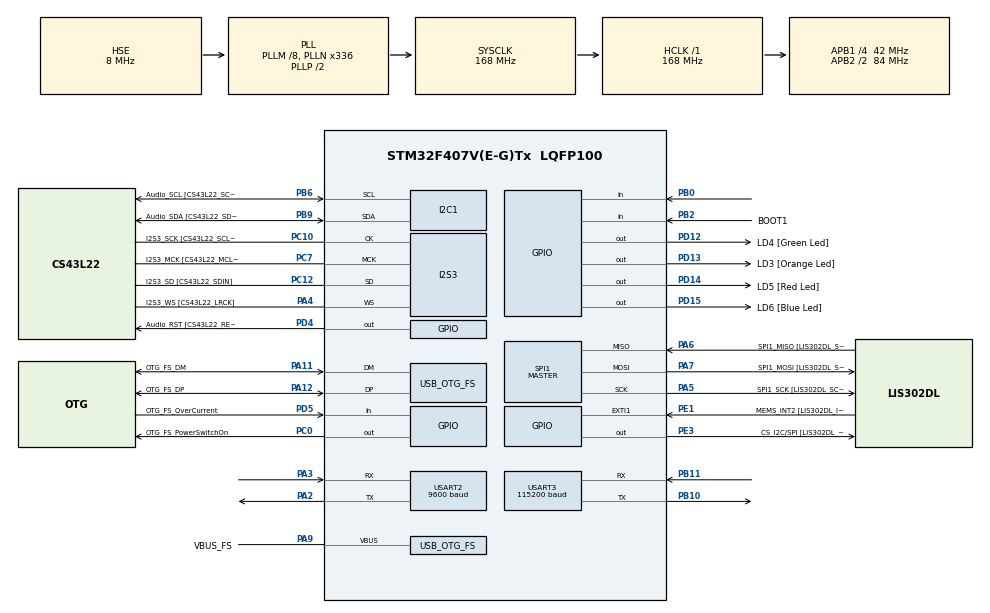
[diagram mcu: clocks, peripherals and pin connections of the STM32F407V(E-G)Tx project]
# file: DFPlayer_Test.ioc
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I2S3.AudioFreq-Half_Duplex_Master=I2S_AUDIOFREQ_96K
I2S3.ErrorAudioFreq=-2.34 %
I2S3.ErrorAudioFreq-Half_Duplex_Master=0.8 %
I2S3.FullDuplexMode=I2S_FULLDUPLEXMODE_DISABLE
I2S3.Instance=SPI$Index
I2S3.RealAudioFreq=93.75 KHz
I2S3.RealAudioFreq-Half_Duplex_Master=96.774 KHz
I2S3.VirtualMode=I2S_MODE_MASTER
Mcu.Family=STM32F4
Mcu.Name=STM32F407V(E-G)Tx
Mcu.Package=LQFP100
NVIC.OTG_FS_IRQn=true\:0\:0\:false\:false\:true\:true\:true\:true
NVIC.PriorityGroup=NVIC_PRIORITYGROUP_0
NVIC.USART3_IRQn=true\:0\:0\:false\:false\:true\:true\:true\:true
PA10.GPIO_Label=OTG_FS_ID
PA10.GPIO_Mode=GPIO_MODE_AF_PP
PA10.GPIO_PuPd=GPIO_NOPULL
PA10.GPIO_Speed=GPIO_SPEED_FREQ_LOW
PA10.Signal=USB_OTG_FS_ID
PA11.GPIO_Label=OTG_FS_DM
PA11.GPIO_Mode=GPIO_MODE_AF_PP
PA11.GPIO_PuPd=GPIO_NOPULL
PA11.GPIO_Speed=GPIO_SPEED_FREQ_LOW
PA11.Mode=Host_Only
PA11.Signal=USB_OTG_FS_DM
PA12.GPIO_Label=OTG_FS_DP
PA12.GPIO_Mode=GPIO_MODE_AF_PP
PA12.GPIO_PuPd=GPIO_NOPULL
PA12.GPIO_Speed=GPIO_SPEED_FREQ_LOW
PA12.Mode=Host_Only
PA12.Signal=USB_OTG_FS_DP
PA13.GPIO_Label=SWDIO
PA13.Mode=Serial_Wire
PA13.Signal=SYS_JTMS-SWDIO
PA14.GPIO_Label=SWCLK
PA14.Mode=Serial_Wire
PA14.Signal=SYS_JTCK-SWCLK
PA2.Mode=Asynchronous
PA2.Signal=USART2_TX
PA3.Mode=Asynchronous
PA3.Signal=USART2_RX
PA4.GPIO_Label=I2S3_WS [CS43L22_LRCK]
PA4.GPIO_Mode=GPIO_MODE_AF_PP
PA4.GPIO_PuPd=GPIO_NOPULL
PA4.GPIO_Speed=GPIO_SPEED_FREQ_LOW
PA4.Mode=Half_Duplex_Master
PA4.Signal=I2S3_WS
PA5.GPIO_Label=SPI1_SCK [LIS302DL_SCL/SPC]
PA5.GPIO_Mode=GPIO_MODE_AF_PP
PA5.GPIO_PuPd=GPIO_NOPULL
PA5.GPIO_Speed=GPIO_SPEED_FREQ_LOW
PA5.Mode=Full_Duplex_Master
PA5.Signal=SPI1_SCK
PA6.GPIO_Label=SPI1_MISO [LIS302DL_SDO]
PA6.GPIO_Mode=GPIO_MODE_AF_PP
PA6.GPIO_PuPd=GPIO_NOPULL
PA6.GPIO_Speed=GPIO_SPEED_FREQ_LOW
PA6.Mode=Full_Duplex_Master
PA6.Signal=SPI1_MISO
PA7.GPIO_Label=SPI1_MOSI [LIS302DL_SDA/SDI/SDO]
PA7.GPIO_Mode=GPIO_MODE_AF_PP
PA7.GPIO_PuPd=GPIO_NOPULL
PA7.GPIO_Speed=GPIO_SPEED_FREQ_LOW
PA7.Mode=Full_Duplex_Master
PA7.Signal=SPI1_MOSI
PA9.GPIO_Label=VBUS_FS
PA9.GPIO_Mode=GPIO_MODE_INPUT
PA9.GPIO_PuPd=GPIO_NOPULL
PA9.Mode=Activate_VBUS
PA9.Signal=USB_OTG_FS_VBUS
PB0.Signal=GPIO_Input
PB10.Mode=Asynchronous
PB10.Signal=USART3_TX
PB11.Mode=Asynchronous
PB11.Signal=USART3_RX
PB2.GPIO_Label=BOOT1
PB2.GPIO_Mode=GPIO_MODE_INPUT
PB2.GPIO_PuPd=GPIO_NOPULL
PB2.Signal=GPIO_Input
PB3.GPIO_Label=SWO
PB3.Signal=SYS_JTDO-SWO
PB6.GPIO_Label=Audio_SCL [CS43L22_SCL]
PB6.GPIO_Mode=GPIO_MODE_AF_OD
PB6.GPIO_Pu=GPIO_PULLUP
PB6.GPIO_PuPd=GPIO_NOPULL
PB6.GPIO_Speed=GPIO_SPEED_FREQ_LOW
PB6.Mode=I2C
PB6.Signal=I2C1_SCL
PB9.GPIO_Label=Audio_SDA [CS43L22_SDA]
PB9.GPIO_Mode=GPIO_MODE_AF_OD
PB9.GPIO_Pu=GPIO_PULLUP
PB9.GPIO_PuPd=GPIO_NOPULL
PB9.GPIO_Speed=GPIO_SPEED_FREQ_LOW
PB9.Mode=I2C
PB9.Signal=I2C1_SDA
PC0.GPIO_Label=OTG_FS_PowerSwitchOn
PC0.GPIO_PuPd=GPIO_NOPULL
PC0.GPIO_Speed=GPIO_SPEED_FREQ_LOW
PC0.PinState=GPIO_PIN_SET
PC0.Signal=GPIO_Output
PC10.GPIO_Label=I2S3_SCK [CS43L22_SCLK]
PC10.GPIO_Mode=GPIO_MODE_AF_PP
PC10.GPIO_PuPd=GPIO_NOPULL
PC10.GPIO_Speed=GPIO_SPEED_FREQ_LOW
PC10.Mode=Half_Duplex_Master
PC10.Signal=I2S3_CK
PC12.GPIO_Label=I2S3_SD [CS43L22_SDIN]
PC12.GPIO_Mode=GPIO_MODE_AF_PP
PC12.GPIO_PuPd=GPIO_NOPULL
PC12.GPIO_Speed=GPIO_SPEED_FREQ_LOW
PC12.Mode=Half_Duplex_Master
PC12.Signal=I2S3_SD
PC14-OSC32_IN.GPIO_Label=PC14-OSC32_IN
PC14-OSC32_IN.Mode=LSE-External-Oscillator
PC14-OSC32_IN.Signal=RCC_OSC32_IN
PC15-OSC32_OUT.GPIO_Label=PC15-OSC32_OUT
PC15-OSC32_OUT.Mode=LSE-External-Oscillator
PC15-OSC32_OUT.Signal=RCC_OSC32_OUT
PC3.GPIO_Label=PDM_OUT [MP45DT02_DOUT]
PC3.GPIO_Mode=GPIO_MODE_AF_PP
PC3.GPIO_PuPd=GPIO_NOPULL
PC3.GPIO_Speed=GPIO_SPEED_FREQ_LOW
PC3.Signal=I2S2_SD
PC7.GPIO_Label=I2S3_MCK [CS43L22_MCLK]
PC7.GPIO_Mode=GPIO_MODE_AF_PP
PC7.GPIO_PuPd=GPIO_NOPULL
PC7.GPIO_Speed=GPIO_SPEED_FREQ_LOW
PC7.Mode=Master_Clock_Activated
PC7.Signal=I2S3_MCK
PD12.GPIO_Label=LD4 [Green Led]
PD12.GPIO_PuPd=GPIO_NOPULL
PD12.GPIO_Speed=GPIO_SPEED_FREQ_LOW
PD12.Signal=GPIO_Output
PD13.GPIO_Label=LD3 [Orange Led]
PD13.GPIO_PuPd=GPIO_NOPULL
PD13.GPIO_Speed=GPIO_SPEED_FREQ_LOW
PD13.Signal=GPIO_Output
PD14.GPIO_Label=LD5 [Red Led]
PD14.GPIO_PuPd=GPIO_NOPULL
PD14.GPIO_Speed=GPIO_SPEED_FREQ_LOW
PD14.Signal=GPIO_Output
PD15.GPIO_Label=LD6 [Blue Led]
PD15.GPIO_PuPd=GPIO_NOPULL
PD15.GPIO_Speed=GPIO_SPEED_FREQ_LOW
PD15.Signal=GPIO_Output
PD4.GPIO_Label=Audio_RST [CS43L22_RESET]
PD4.GPIO_PuPd=GPIO_NOPULL
PD4.GPIO_Speed=GPIO_SPEED_FREQ_LOW
PD4.Signal=GPIO_Output
PD5.GPIO_Label=OTG_FS_OverCurrent
PD5.GPIO_Mode=GPIO_MODE_INPUT
PD5.GPIO_PuPd=GPIO_NOPULL
PD5.Signal=GPIO_Input
PE1.GPIO_Label=MEMS_INT2 [LIS302DL_INT2]
PE1.GPIO_ModeDefaultEXTI=GPIO_MODE_EVT_RISING
PE1.GPIO_PuPd=GPIO_NOPULL
PE1.Signal=GPXTI1
PE3.GPIO_Label=CS_I2C/SPI [LIS302DL_CS_I2C/SPI]
PE3.GPIO_PuPd=GPIO_NOPULL
PE3.GPIO_Speed=GPIO_SPEED_FREQ_LOW
PE3.Signal=GPIO_Output
PH0-OSC_IN.GPIO_Label=PH0-OSC_IN
PH0-OSC_IN.Mode=HSE-External-Oscillator
PH0-OSC_IN.Signal=RCC_OSC_IN
PH1-OSC_OUT.GPIO_Label=PH1-OSC_OUT
PH1-OSC_OUT.Mode=HSE-External-Oscillator
PH1-OSC_OUT.Signal=RCC_OSC_OUT
ProjectManager.HeapSize=0x200
ProjectManager.StackSize=0x400
ProjectManager.TargetToolchain=Makefile
RCC.48MHZClocksFreq_Value=48000000
RCC.AHBFreq_Value=168000000
RCC.APB1CLKDivider=RCC_HCLK_DIV4
RCC.APB1Freq_Value=42000000
RCC.APB1TimFreq_Value=84000000
RCC.APB2CLKDivider=RCC_HCLK_DIV2
RCC.APB2Freq_Value=84000000
RCC.APB2TimFreq_Value=168000000
RCC.CortexFreq_Value=168000000
RCC.HCLKFreq_Value=168000000
RCC.HSE_VALUE=8000000
RCC.HSI_VALUE=16000000
RCC.PLLM=8
RCC.PLLN=336
RCC.PLLQ=7
RCC.SYSCLKFreq_VALUE=168000000
RCC.SYSCLKSource=RCC_SYSCLKSOURCE_PLLCLK
RCC.VCOOutputFreq_Value=336000000
SPI1.BaudRatePrescaler-Full_Duplex_Master=SPI_BAUDRATEPRESCALER_2
SPI1.CalculateBaudRate-Full_Duplex_Master=42.0 MBits/s
SPI1.Direction=SPI_DIRECTION_2LINES
SPI1.Mode=SPI_MODE_MASTER
SPI1.Mode-Full_Duplex_Master=SPI_MODE_MASTER
SPI1.VirtualType=VM_MASTER
USART2.BaudRate=9600
USART2.VirtualMode=VM_ASYNC
USART3.BaudRate=115200
USART3.VirtualMode=VM_ASYNC
USB_HOST.BSP.number=1
USB_HOST.USBH_HandleTypeDef-CDC_FS=hUsbHostFS
USB_HOST.VirtualModeFS=Cdc
USB_HOST0.BSP.STBoard=false
USB_HOST0.BSP.api=Unknown
USB_HOST0.BSP.instance=PC0
USB_HOST0.BSP.ip=GPIO
USB_HOST0.BSP.mode=Output
USB_HOST0.BSP.name=Drive_VBUS_FS
USB_HOST0.BSP.solution=PC0
USB_OTG_FS.VirtualMode=Host_Only
USB_OTG_FS.phy_itface=HCD_PHY_EMBEDDED
VP_USB_HOST_VS_USB_HOST_CDC_FS.Mode=CDC_FS
board=STM32F407G-DISC1

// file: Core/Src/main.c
/* USER CODE BEGIN Header */
/**
  ******************************************************************************
  * @file           : main.c
  * @brief          : Main program body
  ******************************************************************************
  * @attention
  *
  * Copyright (c) 2026 STMicroelectronics.
  * All rights reserved.
  *
  * This software is licensed under terms that can be found in the LICENSE file
  * in the root directory of this software component.
  * If no LICENSE file comes with this software, it is provided AS-IS.
  *
  ******************************************************************************
  */
/* USER CODE END Header */
#include "main.h"
#include "usb_host.h"

/* USER CODE BEGIN Includes */
#include <string.h>
/* USER CODE END Includes */

/* USER CODE BEGIN PTD */
typedef enum
{
    ALERT_SAFE = 0,
    ALERT_LEVEL1,
    ALERT_LEVEL2,
    ALERT_LEVEL3,
    ALERT_SYSTEM_ERROR,
    ALERT_INVALID
} AlertEvent_t;
/* 紅外線接收一次後可能得到的結果 */
typedef enum
{
    IR_RX_NO_FRAME = 0,   // 沒找到一個完整封包
    IR_RX_OK,             // 成功解出8-bit
    IR_RX_INVALID         // 有收到訊號，但時序不正確
} IR_RxStatus_t;
/* USER CODE END PTD */

/* USER CODE BEGIN PD */
/* =========================
 * 紅外線接收器腳位
 * ========================= */

/* 紅外線接收器OUT接到PB0 */
#define IR_RX_PORT                 GPIOB
#define IR_RX_PIN                  GPIO_PIN_0

/*
 * 一般38kHz接收器：
 * 收到紅外線載波時，OUT輸出LOW
 * 沒有載波時，OUT輸出HIGH
 */
#define IR_ACTIVE_STATE            GPIO_PIN_RESET
#define IR_IDLE_STATE              GPIO_PIN_SET

/* =========================
 * NEC時序範圍，單位為µs
 * ========================= */

/* Start：理論值9 ms LOW */
#define IR_START_MARK_MIN_US       7500U
#define IR_START_MARK_MAX_US       11000U

/* Start：理論值4.5 ms HIGH */
#define IR_START_SPACE_MIN_US      3000U
#define IR_START_SPACE_MAX_US      6000U

/* 每個bit前面的562 µs LOW */
#define IR_BIT_MARK_MIN_US         300U
#define IR_BIT_MARK_MAX_US         900U

/* bit 0後面的562 µs HIGH */
#define IR_ZERO_SPACE_MIN_US       300U
#define IR_ZERO_SPACE_MAX_US       1000U

/* bit 1後面的1687 µs HIGH */
#define IR_ONE_SPACE_MIN_US        1100U
#define IR_ONE_SPACE_MAX_US        2500U

/* Stop：562 µs LOW */
#define IR_STOP_MARK_MIN_US        300U
#define IR_STOP_MARK_MAX_US        1000U

/* 等待一個封包的最長時間 */
#define IR_FRAME_WAIT_TIMEOUT_US   150000U

/* 等待單一脈衝的最長時間 */
#define IR_PULSE_TIMEOUT_US        12000U

/* =========================
 * 連續封包確認規則
 * ========================= */

#define SAFE_CONFIRM_COUNT         3U
#define EVENT_CONFIRM_COUNT        2U
#define ERROR_CONFIRM_COUNT        2U

/* 超過700 ms沒再收到相同候選碼，就重新計算 */
#define CANDIDATE_TIMEOUT_MS       700U

/* USER CODE END PD */

I2C_HandleTypeDef hi2c1;

I2S_HandleTypeDef hi2s3;

SPI_HandleTypeDef hspi1;

UART_HandleTypeDef huart2;
UART_HandleTypeDef huart3;

/* USER CODE BEGIN PV */
static AlertEvent_t last_voice_event = ALERT_SAFE;
/*
 * 目前系統已經正式確認的Payload。
 * 0xFF不是你們使用的正常Payload，因此用作初始值。
 */
static uint8_t output_payload = 0xFFU;

/*
 * 紅外線剛收到的Payload先當作候選值。
 * 連續收到足夠次數後，才成為正式狀態。
 */
static uint8_t candidate_payload = 0xFFU;
static uint8_t candidate_count = 0U;
static uint32_t candidate_last_tick = 0U;
/* USER CODE END PV */

void SystemClock_Config(void);
static void MX_GPIO_Init(void);
static void MX_I2C1_Init(void);
static void MX_I2S3_Init(void);
static void MX_SPI1_Init(void);
static void MX_USART2_UART_Init(void);
static void MX_USART3_UART_Init(void);
void MX_USB_HOST_Process(void);

/* USER CODE BEGIN PFP */
/* DWT微秒計時 */
static void DWT_Delay_Init(void);
static uint32_t DWT_TicksPerUs(void);

/* 判斷量到的時間是否落在範圍內 */
static uint8_t Time_InRange(
    uint32_t value,
    uint32_t minimum,
    uint32_t maximum);

/* 等待GPIO變成指定狀態 */
static uint8_t IR_WaitForState(
    GPIO_PinState state,
    uint32_t timeout_us);

/* 量測GPIO維持指定狀態多久 */
static uint8_t IR_MeasureState(
    GPIO_PinState state,
    uint32_t timeout_us,
    uint32_t *duration_us);

/* 接收並解出一個完整紅外線封包 */
static IR_RxStatus_t IR_DecodeFrame(uint8_t *payload);

/* 候選封包確認邏輯 */
static void Candidate_Reset(void);
static void Candidate_CheckTimeout(void);
static uint8_t Get_RequiredConfirmCount(AlertEvent_t alert);
static void Process_ValidPayload(uint8_t payload);

/* 板載LED狀態顯示 */
static void Panel_ShowUnknown(void);
static void Panel_ShowSafe(void);
static void Panel_ShowLevel1(void);
static void Panel_ShowLevel2(void);
static void Panel_ShowLevel3(void);
static void Panel_ShowError(void);
static void Panel_Update(AlertEvent_t alert);
/* USER CODE END PFP */

/* USER CODE BEGIN 0 */

static void DFPlayer_SendCommand(uint8_t command, uint16_t parameter)
{
    uint8_t frame[10];

    frame[0] = 0x7E;                         // 起始碼
    frame[1] = 0xFF;                         // 版本
    frame[2] = 0x06;                         // 資料長度
    frame[3] = command;                      // 命令
    frame[4] = 0x00;                         // 不要求回覆
    frame[5] = (uint8_t)(parameter >> 8);    // 參數高位
    frame[6] = (uint8_t)(parameter & 0xFF);  // 參數低位

    uint16_t checksum = (uint16_t)(
        0 - (frame[1] + frame[2] + frame[3]
           + frame[4] + frame[5] + frame[6])
    );

    frame[7] = (uint8_t)(checksum >> 8);
    frame[8] = (uint8_t)(checksum & 0xFF);
    frame[9] = 0xEF;                         // 結束碼

    HAL_UART_Transmit(&huart2, frame, 10, 100);

    /* 避免命令傳送太密集 */
    HAL_Delay(100);
}

/* 設定音量，範圍0～30 */
static void DFPlayer_SetVolume(uint8_t volume)
{
    if (volume > 30)
    {
        volume = 30;
    }

    DFPlayer_SendCommand(0x06, volume);
}

/* 選擇microSD卡作為播放來源 */
static void DFPlayer_SelectSD(void)
{
    DFPlayer_SendCommand(0x09, 0x0002);
}

/* 播放 /mp3/0001.mp3、0002.mp3等 */
static void DFPlayer_PlayMp3(uint16_t track)
{
    DFPlayer_SendCommand(0x12, track);
}

/* 停止播放 */
static void DFPlayer_Stop(void)
{
    DFPlayer_SendCommand(0x16, 0x0000);
}
static void Monitor_Print(const char *message)
{
    HAL_UART_Transmit(
        &huart3,
        (uint8_t *)message,
        strlen(message),
        100
    );
}

static void Monitor_PrintAlert(AlertEvent_t alert)
{
    switch (alert)
    {
        case ALERT_SAFE:
            Monitor_Print("SAFE\r\n");
            break;

        case ALERT_LEVEL1:
            Monitor_Print("LEVEL1\r\n");
            break;

        case ALERT_LEVEL2:
            Monitor_Print("LEVEL2\r\n");
            break;

        case ALERT_LEVEL3:
            Monitor_Print("LEVEL3\r\n");
            break;

        case ALERT_SYSTEM_ERROR:
            Monitor_Print("ERROR\r\n");
            break;

        default:
            Monitor_Print("INVALID\r\n");
            break;
    }
}

static AlertEvent_t IR_DecodePayload(uint8_t payload)
{
    uint8_t event_type;
    uint8_t level;
    uint8_t received_check;
    uint8_t calculated_check;

    /*
     * 格式：TTT LL CCC
     *
     * bit7～bit5：TTT
     * bit4～bit3：LL
     * bit2～bit0：CCC
     */
    event_type = (payload >> 5) & 0x07;
    level = (payload >> 3) & 0x03;
    received_check = payload & 0x07;

    /*
     * CCC = TTT XOR 0LL
     * level為2 bit，放在uint8_t中前面自然補0。
     */
    calculated_check = event_type ^ level;

    /* 檢查碼不一致，表示資料可能傳錯 */
    if (received_check != calculated_check)
    {
        return ALERT_INVALID;
    }

    /* 安全：000 00 000 */
    if ((event_type == 0x00) && (level == 0x00))
    {
        return ALERT_SAFE;
    }

    /* 弱勢用路人穿越：TTT = 001 */
    if (event_type == 0x01)
    {
        switch (level)
        {
            case 1:
                return ALERT_LEVEL1;

            case 2:
                return ALERT_LEVEL2;

            case 3:
                return ALERT_LEVEL3;

            default:
                return ALERT_INVALID;
        }
    }

    /* 系統錯誤：TTT = 111、LL = 00 */
    if ((event_type == 0x07) && (level == 0x00))
    {
        return ALERT_SYSTEM_ERROR;
    }

    return ALERT_INVALID;
}
static void Process_AlertEvent(AlertEvent_t alert)
{
    /* 檢查碼錯誤或未知事件，直接忽略 */
    if (alert == ALERT_INVALID)
    {
        return;
    }

    /*
     * 安全與Level 1不播放語音，
     * 同時解除上一次語音事件鎖定。
     */
    if ((alert == ALERT_SAFE) ||
    (alert == ALERT_LEVEL1))
{
    DFPlayer_Stop();
    last_voice_event = ALERT_SAFE;
    return;
}

    /* 相同事件持續收到時，不重新播放 */
    if (alert == last_voice_event)
    {
        return;
    }

    last_voice_event = alert;

    switch (alert)
    {
        case ALERT_LEVEL2:
            DFPlayer_PlayMp3(1);
            break;

        case ALERT_LEVEL3:
            DFPlayer_PlayMp3(2);
            break;

        case ALERT_SYSTEM_ERROR:
            DFPlayer_PlayMp3(3);
            break;

        default:
            break;
    }
}
static void DWT_Delay_Init(void)
{
    /*
     * 啟用Cortex-M4內部的cycle counter。
     * 它會隨著CPU clock一直累加。
     */
    CoreDebug->DEMCR |= CoreDebug_DEMCR_TRCENA_Msk;

    DWT->CYCCNT = 0U;

    DWT->CTRL |= DWT_CTRL_CYCCNTENA_Msk;
}

static uint32_t DWT_TicksPerUs(void)
{
    /*
     * 你的CPU為168 MHz：
     * 每1 µs大約有168個cycle。
     */
    return SystemCoreClock / 1000000U;
}

static uint8_t Time_InRange(
    uint32_t value,
    uint32_t minimum,
    uint32_t maximum)
{
    if ((value >= minimum) && (value <= maximum))
    {
        return 1U;
    }

    return 0U;
}
static uint8_t IR_WaitForState(
    GPIO_PinState state,
    uint32_t timeout_us)
{
    uint32_t start_tick;
    uint32_t timeout_ticks;

    start_tick = DWT->CYCCNT;

    timeout_ticks =
        timeout_us * DWT_TicksPerUs();

    /*
     * 一直等待PB0變成指定狀態。
     * 但不能無限等待，所以加入timeout。
     */
    while (HAL_GPIO_ReadPin(IR_RX_PORT, IR_RX_PIN) != state)
    {
        if ((DWT->CYCCNT - start_tick) >= timeout_ticks)
        {
            return 0U;
        }
    }

    return 1U;
}

static uint8_t IR_MeasureState(
    GPIO_PinState state,
    uint32_t timeout_us,
    uint32_t *duration_us)
{
    uint32_t start_tick;
    uint32_t elapsed_ticks;
    uint32_t timeout_ticks;

    timeout_ticks =
        timeout_us * DWT_TicksPerUs();

    /*
     * 呼叫此函式時，GPIO應該已經處於要量測的狀態。
     */
    if (HAL_GPIO_ReadPin(IR_RX_PORT, IR_RX_PIN) != state)
    {
        return 0U;
    }

    start_tick = DWT->CYCCNT;

    /*
     * GPIO仍然維持此狀態，就繼續計時。
     */
    while (HAL_GPIO_ReadPin(IR_RX_PORT, IR_RX_PIN) == state)
    {
        elapsed_ticks = DWT->CYCCNT - start_tick;

        if (elapsed_ticks >= timeout_ticks)
        {
            if (duration_us != NULL)
            {
                *duration_us =
                    elapsed_ticks / DWT_TicksPerUs();
            }

            return 0U;
        }
    }

    elapsed_ticks = DWT->CYCCNT - start_tick;

    if (duration_us != NULL)
    {
        *duration_us =
            elapsed_ticks / DWT_TicksPerUs();
    }

    return 1U;
}
static IR_RxStatus_t IR_DecodeFrame(uint8_t *payload)
{
    uint32_t frame_start_tick;
    uint32_t frame_timeout_ticks;
    uint32_t duration = 0U;

    uint8_t data = 0U;
    uint8_t found_start = 0U;

    if (payload == NULL)
    {
        return IR_RX_INVALID;
    }

    frame_start_tick = DWT->CYCCNT;

    frame_timeout_ticks =
        IR_FRAME_WAIT_TIMEOUT_US * DWT_TicksPerUs();

    /*
     * 第一部分：尋找9 ms LOW起始碼。
     */
    while ((DWT->CYCCNT - frame_start_tick) <
           frame_timeout_ticks)
    {
        if (!IR_WaitForState(IR_ACTIVE_STATE, 2000U))
        {
            continue;
        }

        if (!IR_MeasureState(
                IR_ACTIVE_STATE,
                IR_PULSE_TIMEOUT_US,
                &duration))
        {
            return IR_RX_INVALID;
        }

        if (Time_InRange(
                duration,
                IR_START_MARK_MIN_US,
                IR_START_MARK_MAX_US))
        {
            found_start = 1U;
            break;
        }
    }

    if (!found_start)
    {
        return IR_RX_NO_FRAME;
    }

    /*
     * 第二部分：量測Start後面的4.5 ms HIGH。
     */
    if (!IR_MeasureState(
            IR_IDLE_STATE,
            IR_PULSE_TIMEOUT_US,
            &duration))
    {
        return IR_RX_INVALID;
    }

    if (!Time_InRange(
            duration,
            IR_START_SPACE_MIN_US,
            IR_START_SPACE_MAX_US))
    {
        return IR_RX_INVALID;
    }

    /*
     * 第三部分：接收8個bit。
     *
     * 發射端由bit7開始傳，也就是MSB first。
     */
    for (int8_t bit_index = 7;
         bit_index >= 0;
         bit_index--)
    {
        /*
         * 每一個bit都先出現約562 µs LOW。
         */
        if (!IR_WaitForState(IR_ACTIVE_STATE, 3000U))
        {
            return IR_RX_INVALID;
        }

        if (!IR_MeasureState(
                IR_ACTIVE_STATE,
                IR_PULSE_TIMEOUT_US,
                &duration))
        {
            return IR_RX_INVALID;
        }

        if (!Time_InRange(
                duration,
                IR_BIT_MARK_MIN_US,
                IR_BIT_MARK_MAX_US))
        {
            return IR_RX_INVALID;
        }

        /*
         * 接著量測HIGH時間：
         *
         * 約562 µs  → bit 0
         * 約1687 µs → bit 1
         */
        if (!IR_MeasureState(
                IR_IDLE_STATE,
                IR_PULSE_TIMEOUT_US,
                &duration))
        {
            return IR_RX_INVALID;
        }

        if (Time_InRange(
                duration,
                IR_ZERO_SPACE_MIN_US,
                IR_ZERO_SPACE_MAX_US))
        {
            /* bit為0，data預設就是0，不必修改 */
        }
        else if (Time_InRange(
                     duration,
                     IR_ONE_SPACE_MIN_US,
                     IR_ONE_SPACE_MAX_US))
        {
            /*
             * 這一位是1，就把對應bit設成1。
             */
            data |= (uint8_t)(1U << bit_index);
        }
        else
        {
            return IR_RX_INVALID;
        }
    }

    /*
     * 第四部分：檢查最後約562 µs LOW停止碼。
     */
    if (!IR_WaitForState(IR_ACTIVE_STATE, 3000U))
    {
        return IR_RX_INVALID;
    }

    if (!IR_MeasureState(
            IR_ACTIVE_STATE,
            IR_PULSE_TIMEOUT_US,
            &duration))
    {
        return IR_RX_INVALID;
    }

    if (!Time_InRange(
            duration,
            IR_STOP_MARK_MIN_US,
            IR_STOP_MARK_MAX_US))
    {
        return IR_RX_INVALID;
    }

    /*
     * 到這裡代表完整封包成功。
     */
    *payload = data;

    return IR_RX_OK;
}
static void Candidate_Reset(void)
{
    candidate_payload = 0xFFU;
    candidate_count = 0U;
    candidate_last_tick = 0U;
}

static void Candidate_CheckTimeout(void)
{
    uint32_t now;

    now = HAL_GetTick();

    /*
     * 有正在確認的候選資料時，
     * 超過700 ms沒再收到，就取消。
     */
    if (candidate_count > 0U)
    {
        if ((now - candidate_last_tick) >
            CANDIDATE_TIMEOUT_MS)
        {
            Candidate_Reset();
        }
    }
}

static uint8_t Get_RequiredConfirmCount(AlertEvent_t alert)
{
    if (alert == ALERT_SAFE)
    {
        return SAFE_CONFIRM_COUNT;
    }

    if (alert == ALERT_SYSTEM_ERROR)
    {
        return ERROR_CONFIRM_COUNT;
    }

    if ((alert == ALERT_LEVEL1) ||
        (alert == ALERT_LEVEL2) ||
        (alert == ALERT_LEVEL3))
    {
        return EVENT_CONFIRM_COUNT;
    }

    return 0U;
}
static void Panel_ShowUnknown(void)
{
    /* 藍燈：尚未收到有效狀態 */
    HAL_GPIO_WritePin(
        GPIOD,
        LD6_Pin,
        GPIO_PIN_SET);

    HAL_GPIO_WritePin(
        GPIOD,
        LD3_Pin | LD4_Pin | LD5_Pin,
        GPIO_PIN_RESET);
}

static void Panel_ShowSafe(void)
{
    /* 綠燈：安全 */
    HAL_GPIO_WritePin(
        GPIOD,
        LD4_Pin,
        GPIO_PIN_SET);

    HAL_GPIO_WritePin(
        GPIOD,
        LD3_Pin | LD5_Pin | LD6_Pin,
        GPIO_PIN_RESET);
}

static void Panel_ShowLevel1(void)
{
    /* 橘燈：Level 1 */
    HAL_GPIO_WritePin(
        GPIOD,
        LD3_Pin,
        GPIO_PIN_SET);

    HAL_GPIO_WritePin(
        GPIOD,
        LD4_Pin | LD5_Pin | LD6_Pin,
        GPIO_PIN_RESET);
}

static void Panel_ShowLevel2(void)
{
    /* 紅燈：Level 2 */
    HAL_GPIO_WritePin(
        GPIOD,
        LD5_Pin,
        GPIO_PIN_SET);

    HAL_GPIO_WritePin(
        GPIOD,
        LD3_Pin | LD4_Pin | LD6_Pin,
        GPIO_PIN_RESET);
}

static void Panel_ShowLevel3(void)
{
    /* 紅燈＋藍燈：Level 3 */
    HAL_GPIO_WritePin(
        GPIOD,
        LD5_Pin | LD6_Pin,
        GPIO_PIN_SET);

    HAL_GPIO_WritePin(
        GPIOD,
        LD3_Pin | LD4_Pin,
        GPIO_PIN_RESET);
}

static void Panel_ShowError(void)
{
    /* 橘＋紅＋藍：系統錯誤 */
    HAL_GPIO_WritePin(
        GPIOD,
        LD3_Pin | LD5_Pin | LD6_Pin,
        GPIO_PIN_SET);

    HAL_GPIO_WritePin(
        GPIOD,
        LD4_Pin,
        GPIO_PIN_RESET);
}

static void Panel_Update(AlertEvent_t alert)
{
    switch (alert)
    {
        case ALERT_SAFE:
            Panel_ShowSafe();
            break;

        case ALERT_LEVEL1:
            Panel_ShowLevel1();
            break;

        case ALERT_LEVEL2:
            Panel_ShowLevel2();
            break;

        case ALERT_LEVEL3:
            Panel_ShowLevel3();
            break;

        case ALERT_SYSTEM_ERROR:
            Panel_ShowError();
            break;

        default:
            Panel_ShowUnknown();
            break;
    }
}
static void Process_ValidPayload(uint8_t payload)
{
    AlertEvent_t alert;
    uint8_t required_count;

    /*
     * 使用你原本的函式：
     * 拆出TTT、LL、CCC並驗證檢查碼。
     */
    alert = IR_DecodePayload(payload);

    /*
     * 檢查碼錯誤或未知事件：
     * 這一包不用，也清除候選次數。
     */
    if (alert == ALERT_INVALID)
    {
        Candidate_Reset();
        return;
    }

    Candidate_CheckTimeout();

    required_count =
        Get_RequiredConfirmCount(alert);

    if (required_count == 0U)
    {
        Candidate_Reset();
        return;
    }

    /*
     * 這次Payload和上次候選Payload相同：
     * 確認次數加1。
     */
    if (payload == candidate_payload)
    {
        if (candidate_count < 255U)
        {
            candidate_count++;
        }
    }
    else
    {
        /*
         * 收到不同Payload：
         * 改成新的候選狀態，重新從1開始。
         */
        candidate_payload = payload;
        candidate_count = 1U;
    }

    candidate_last_tick = HAL_GetTick();

    /*
     * 收到足夠次數才正式確認。
     */
    if (candidate_count >= required_count)
    {
        /*
         * 和目前已輸出的狀態不同，才更新。
         * 避免發射器持續傳送時一直重播語音。
         */
        if (output_payload != payload)
        {
            output_payload = payload;

            /* 更新STM32板上的LED */
            /* 更新STM32板上的LED */
            Panel_Update(alert);

            /* Level 2、Level 3、Error觸發語音 */
            Process_AlertEvent(alert);

            /* USART3傳給電腦Python監控 */
            Monitor_PrintAlert(alert);
        }

        /*
         * 不讓candidate_count無限增加。
         */
        if (candidate_count > required_count)
        {
            candidate_count = required_count;
        }
    }
}
/* USER CODE END 0 */

int main(void)
{

  /* USER CODE BEGIN 1 */
  /* 儲存紅外線解出的8-bit Payload */
  uint8_t received_payload = 0U;

  /* 儲存這次紅外線接收結果 */
  IR_RxStatus_t rx_status = IR_RX_NO_FRAME;

  /* USER CODE END 1 */

  /* MCU Configuration--------------------------------------------------------*/

  /* Reset of all peripherals, Initializes the Flash interface and the Systick. */
  HAL_Init();

  /* Configure the system clock */
  SystemClock_Config();

  /* Initialize all configured peripherals */
  MX_GPIO_Init();
  MX_I2C1_Init();
  MX_I2S3_Init();
  MX_SPI1_Init();
  MX_USB_HOST_Init();
  MX_USART2_UART_Init();
  MX_USART3_UART_Init();
  /* USER CODE BEGIN 2 */

/*
 * 啟用DWT計時器。
 * 紅外線解碼要靠它量測微秒時間。
 */

DWT_Delay_Init();
Monitor_Print("RECEIVER READY\r\n");

/* 初始化紅外線候選狀態 */
output_payload = 0xFFU;
Candidate_Reset();

/* 尚未收到任何有效事件，先顯示藍燈 */
Panel_ShowUnknown();

/* 等待DFPlayer與microSD完成啟動 */
HAL_Delay(3000);

/* 選擇microSD */
DFPlayer_SelectSD();

HAL_Delay(500);

/* 設定音量 */
DFPlayer_SetVolume(15);

HAL_Delay(500);
/* 初始化完成後，再通知電腦監控視窗 */
Monitor_Print("RECEIVER READY\r\n");

/*
 * 不再放Process_IR_Payload(0x33)之類固定測試碼。
 * 之後由紅外線真正收到的資料決定。
 */

  /* USER CODE END 2 */

  /* Infinite loop */
  while (1)
{
    MX_USB_HOST_Process();

    /* USER CODE BEGIN 3 */

    /*
     * 檢查候選封包是否等太久。
     */
    Candidate_CheckTimeout();

    /*
     * 嘗試接收一個完整紅外線封包。
     */
    rx_status =
        IR_DecodeFrame(&received_payload);

    if (rx_status == IR_RX_OK)
    {
        /*
         * 已經成功解出8-bit，
         * 再進行檢查碼、連續次數與語音處理。
         */
        Process_ValidPayload(received_payload);
    }
    else if (rx_status == IR_RX_INVALID)
    {
        /*
         * 收到不符合協定的波形。
         * 不改變目前正式狀態，但清除候選次數。
         */
        Candidate_Reset();
    }
    else
    {
        /*
         * IR_RX_NO_FRAME：
         * 目前沒有收到封包，保持原本狀態。
         */
    }

  /* USER CODE END 3 */
}
}
void SystemClock_Config(void)
{
  RCC_OscInitTypeDef RCC_OscInitStruct = {0};
  RCC_ClkInitTypeDef RCC_ClkInitStruct = {0};

  /** Configure the main internal regulator output voltage
  */
  __HAL_RCC_PWR_CLK_ENABLE();
  __HAL_PWR_VOLTAGESCALING_CONFIG(PWR_REGULATOR_VOLTAGE_SCALE1);

  /** Initializes the RCC Oscillators according to the specified parameters
  * in the RCC_OscInitTypeDef structure.
  */
  RCC_OscInitStruct.OscillatorType = RCC_OSCILLATORTYPE_HSE;
  RCC_OscInitStruct.HSEState = RCC_HSE_ON;
  RCC_OscInitStruct.PLL.PLLState = RCC_PLL_ON;
  RCC_OscInitStruct.PLL.PLLSource = RCC_PLLSOURCE_HSE;
  RCC_OscInitStruct.PLL.PLLM = 8;
  RCC_OscInitStruct.PLL.PLLN = 336;
  RCC_OscInitStruct.PLL.PLLP = RCC_PLLP_DIV2;
  RCC_OscInitStruct.PLL.PLLQ = 7;
  if (HAL_RCC_OscConfig(&RCC_OscInitStruct) != HAL_OK)
  {
    Error_Handler();
  }

  /** Initializes the CPU, AHB and APB buses clocks
  */
  RCC_ClkInitStruct.ClockType = RCC_CLOCKTYPE_HCLK|RCC_CLOCKTYPE_SYSCLK
                              |RCC_CLOCKTYPE_PCLK1|RCC_CLOCKTYPE_PCLK2;
  RCC_ClkInitStruct.SYSCLKSource = RCC_SYSCLKSOURCE_PLLCLK;
  RCC_ClkInitStruct.AHBCLKDivider = RCC_SYSCLK_DIV1;
  RCC_ClkInitStruct.APB1CLKDivider = RCC_HCLK_DIV4;
  RCC_ClkInitStruct.APB2CLKDivider = RCC_HCLK_DIV2;

  if (HAL_RCC_ClockConfig(&RCC_ClkInitStruct, FLASH_LATENCY_5) != HAL_OK)
  {
    Error_Handler();
  }
}

static void MX_I2C1_Init(void)
{

  hi2c1.Instance = I2C1;
  hi2c1.Init.ClockSpeed = 100000;
  hi2c1.Init.DutyCycle = I2C_DUTYCYCLE_2;
  hi2c1.Init.OwnAddress1 = 0;
  hi2c1.Init.AddressingMode = I2C_ADDRESSINGMODE_7BIT;
  hi2c1.Init.DualAddressMode = I2C_DUALADDRESS_DISABLE;
  hi2c1.Init.OwnAddress2 = 0;
  hi2c1.Init.GeneralCallMode = I2C_GENERALCALL_DISABLE;
  hi2c1.Init.NoStretchMode = I2C_NOSTRETCH_DISABLE;
  if (HAL_I2C_Init(&hi2c1) != HAL_OK)
  {
    Error_Handler();
  }

}

static void MX_I2S3_Init(void)
{

  hi2s3.Instance = SPI3;
  hi2s3.Init.Mode = I2S_MODE_MASTER_TX;
  hi2s3.Init.Standard = I2S_STANDARD_PHILIPS;
  hi2s3.Init.DataFormat = I2S_DATAFORMAT_16B;
  hi2s3.Init.MCLKOutput = I2S_MCLKOUTPUT_ENABLE;
  hi2s3.Init.AudioFreq = I2S_AUDIOFREQ_96K;
  hi2s3.Init.CPOL = I2S_CPOL_LOW;
  hi2s3.Init.ClockSource = I2S_CLOCK_PLL;
  hi2s3.Init.FullDuplexMode = I2S_FULLDUPLEXMODE_DISABLE;
  if (HAL_I2S_Init(&hi2s3) != HAL_OK)
  {
    Error_Handler();
  }

}

static void MX_SPI1_Init(void)
{

  /* SPI1 parameter configuration*/
  hspi1.Instance = SPI1;
  hspi1.Init.Mode = SPI_MODE_MASTER;
  hspi1.Init.Direction = SPI_DIRECTION_2LINES;
  hspi1.Init.DataSize = SPI_DATASIZE_8BIT;
  hspi1.Init.CLKPolarity = SPI_POLARITY_LOW;
  hspi1.Init.CLKPhase = SPI_PHASE_1EDGE;
  hspi1.Init.NSS = SPI_NSS_SOFT;
  hspi1.Init.BaudRatePrescaler = SPI_BAUDRATEPRESCALER_2;
  hspi1.Init.FirstBit = SPI_FIRSTBIT_MSB;
  hspi1.Init.TIMode = SPI_TIMODE_DISABLE;
  hspi1.Init.CRCCalculation = SPI_CRCCALCULATION_DISABLE;
  hspi1.Init.CRCPolynomial = 10;
  if (HAL_SPI_Init(&hspi1) != HAL_OK)
  {
    Error_Handler();
  }

}

static void MX_USART2_UART_Init(void)
{

  huart2.Instance = USART2;
  huart2.Init.BaudRate = 9600;
  huart2.Init.WordLength = UART_WORDLENGTH_8B;
  huart2.Init.StopBits = UART_STOPBITS_1;
  huart2.Init.Parity = UART_PARITY_NONE;
  huart2.Init.Mode = UART_MODE_TX_RX;
  huart2.Init.HwFlowCtl = UART_HWCONTROL_NONE;
  huart2.Init.OverSampling = UART_OVERSAMPLING_16;
  if (HAL_UART_Init(&huart2) != HAL_OK)
  {
    Error_Handler();
  }

}

static void MX_USART3_UART_Init(void)
{

  huart3.Instance = USART3;
  huart3.Init.BaudRate = 115200;
  huart3.Init.WordLength = UART_WORDLENGTH_8B;
  huart3.Init.StopBits = UART_STOPBITS_1;
  huart3.Init.Parity = UART_PARITY_NONE;
  huart3.Init.Mode = UART_MODE_TX_RX;
  huart3.Init.HwFlowCtl = UART_HWCONTROL_NONE;
  huart3.Init.OverSampling = UART_OVERSAMPLING_16;
  if (HAL_UART_Init(&huart3) != HAL_OK)
  {
    Error_Handler();
  }

}

static void MX_GPIO_Init(void)
{
  GPIO_InitTypeDef GPIO_InitStruct = {0};

  /* GPIO Ports Clock Enable */
  __HAL_RCC_GPIOE_CLK_ENABLE();
  __HAL_RCC_GPIOC_CLK_ENABLE();
  __HAL_RCC_GPIOH_CLK_ENABLE();
  __HAL_RCC_GPIOA_CLK_ENABLE();
  __HAL_RCC_GPIOB_CLK_ENABLE();
  __HAL_RCC_GPIOD_CLK_ENABLE();

  /*Configure GPIO pin Output Level */
  HAL_GPIO_WritePin(CS_I2C_SPI_GPIO_Port, CS_I2C_SPI_Pin, GPIO_PIN_RESET);

  /*Configure GPIO pin Output Level */
  HAL_GPIO_WritePin(OTG_FS_PowerSwitchOn_GPIO_Port, OTG_FS_PowerSwitchOn_Pin, GPIO_PIN_SET);

  /*Configure GPIO pin Output Level */
  HAL_GPIO_WritePin(GPIOD, LD4_Pin|LD3_Pin|LD5_Pin|LD6_Pin
                          |Audio_RST_Pin, GPIO_PIN_RESET);

  /*Configure GPIO pin : CS_I2C_SPI_Pin */
  GPIO_InitStruct.Pin = CS_I2C_SPI_Pin;
  GPIO_InitStruct.Mode = GPIO_MODE_OUTPUT_PP;
  GPIO_InitStruct.Pull = GPIO_NOPULL;
  GPIO_InitStruct.Speed = GPIO_SPEED_FREQ_LOW;
  HAL_GPIO_Init(CS_I2C_SPI_GPIO_Port, &GPIO_InitStruct);

  /*Configure GPIO pin : OTG_FS_PowerSwitchOn_Pin */
  GPIO_InitStruct.Pin = OTG_FS_PowerSwitchOn_Pin;
  GPIO_InitStruct.Mode = GPIO_MODE_OUTPUT_PP;
  GPIO_InitStruct.Pull = GPIO_NOPULL;
  GPIO_InitStruct.Speed = GPIO_SPEED_FREQ_LOW;
  HAL_GPIO_Init(OTG_FS_PowerSwitchOn_GPIO_Port, &GPIO_InitStruct);

  /*Configure GPIO pin : PDM_OUT_Pin */
  GPIO_InitStruct.Pin = PDM_OUT_Pin;
  GPIO_InitStruct.Mode = GPIO_MODE_AF_PP;
  GPIO_InitStruct.Pull = GPIO_NOPULL;
  GPIO_InitStruct.Speed = GPIO_SPEED_FREQ_LOW;
  GPIO_InitStruct.Alternate = GPIO_AF5_SPI2;
  HAL_GPIO_Init(PDM_OUT_GPIO_Port, &GPIO_InitStruct);

  /*Configure GPIO pins : PB0 BOOT1_Pin */
  GPIO_InitStruct.Pin = GPIO_PIN_0|BOOT1_Pin;
  GPIO_InitStruct.Mode = GPIO_MODE_INPUT;
  GPIO_InitStruct.Pull = GPIO_NOPULL;
  HAL_GPIO_Init(GPIOB, &GPIO_InitStruct);

  /*Configure GPIO pins : LD4_Pin LD3_Pin LD5_Pin LD6_Pin
                           Audio_RST_Pin */
  GPIO_InitStruct.Pin = LD4_Pin|LD3_Pin|LD5_Pin|LD6_Pin
                          |Audio_RST_Pin;
  GPIO_InitStruct.Mode = GPIO_MODE_OUTPUT_PP;
  GPIO_InitStruct.Pull = GPIO_NOPULL;
  GPIO_InitStruct.Speed = GPIO_SPEED_FREQ_LOW;
  HAL_GPIO_Init(GPIOD, &GPIO_InitStruct);

  /*Configure GPIO pin : OTG_FS_OverCurrent_Pin */
  GPIO_InitStruct.Pin = OTG_FS_OverCurrent_Pin;
  GPIO_InitStruct.Mode = GPIO_MODE_INPUT;
  GPIO_InitStruct.Pull = GPIO_NOPULL;
  HAL_GPIO_Init(OTG_FS_OverCurrent_GPIO_Port, &GPIO_InitStruct);

  /*Configure GPIO pin : MEMS_INT2_Pin */
  GPIO_InitStruct.Pin = MEMS_INT2_Pin;
  GPIO_InitStruct.Mode = GPIO_MODE_EVT_RISING;
  GPIO_InitStruct.Pull = GPIO_NOPULL;
  HAL_GPIO_Init(MEMS_INT2_GPIO_Port, &GPIO_InitStruct);

}

void Error_Handler(void)
{
  __disable_irq();
  while (1)
  {
  }
}
